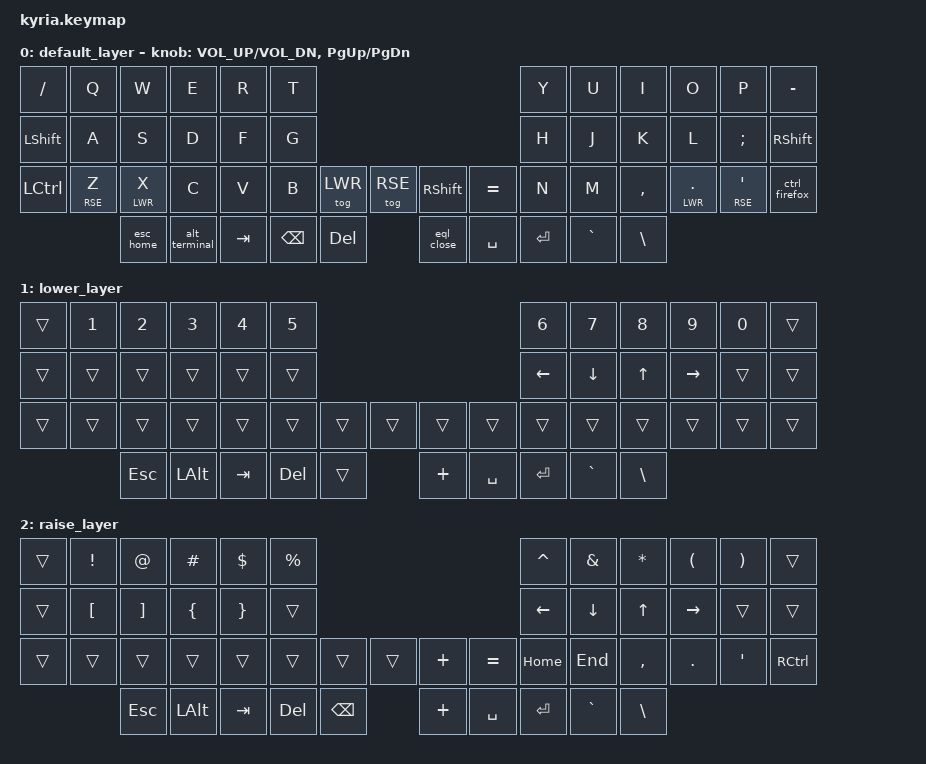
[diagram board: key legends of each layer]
#include <behaviors.dtsi>
#include <dt-bindings/zmk/keys.h>
#include <dt-bindings/zmk/bt.h>
#include <dt-bindings/zmk/outputs.h>
#include <dt-bindings/led/led.h>


#define DEFAULT 0
#define LWR   1
#define RSE   2

/ {
    macros {
        open_home: open_home {
            label = "Open_home";
            compatible = "zmk,behavior-macro";
            #binding-cells = <0>;
            bindings
                = <&macro_press &kp LCTRL>
                , <&macro_press &kp LALT>
                , <&macro_tap &kp D>
                , <&macro_release &kp LCTRL>
                , <&macro_release &kp LALT>
                ;
        };
        open_browser: open_browser {
            label = "Open_browser";
            compatible = "zmk,behavior-macro";
            #binding-cells = <0>;
            bindings
                = <&macro_press &kp LCTRL>
                , <&macro_press &kp LALT>
                , <&macro_tap &kp F>
                , <&macro_release &kp LCTRL>
                , <&macro_release &kp LALT>
                ;
        };
        open_terminal: open_terminal {
            label = "Open_terminal";
            compatible = "zmk,behavior-macro";
            #binding-cells = <0>;
            bindings
                = <&macro_press &kp LCTRL>
                , <&macro_press &kp LALT>
                , <&macro_tap &kp T>
                , <&macro_release &kp LCTRL>
                , <&macro_release &kp LALT>
                ;
        };
        close_window: close_window {
            label = "Close_window";
            compatible = "zmk,behavior-macro";
            #binding-cells = <0>;
            bindings
                = <&macro_press &kp LALT>
                , <&macro_tap &kp F4>
                , <&macro_release &kp LALT>
                ;
        };
    }; 
    behaviors {
        eql_close: tap_dance_3 {
            compatible = "zmk,behavior-tap-dance";
            label = "TAP_DANCE_3";
            #binding-cells = <0>;
            tapping-term-ms = <300>;
            bindings = <&kp EQL>, <&close_window>;
        };
        ctrl_firefox: tap_dance_2 {
            compatible = "zmk,behavior-tap-dance";
            label = "TAP_DANCE_2";
            #binding-cells = <0>;
            tapping-term-ms = <300>;
            bindings = <&kp LCTRL>, <&open_browser>;
        };
        alt_terminal: tap_dance_1 {
            compatible = "zmk,behavior-tap-dance";
            label = "TAP_DANCE_1";
            #binding-cells = <0>;
            tapping-term-ms = <300>;
            bindings = <&kp LALT>, <&open_terminal>;
        };
        esc_home: tap_dance_0 {
            compatible = "zmk,behavior-tap-dance";
            label = "TAP_DANCE_0";
            #binding-cells = <0>;
            tapping-term-ms = <300>;
            bindings = <&kp ESC>, <&open_home>;
        };
    };
    keymap {
      compatible = "zmk,keymap";

      default_layer {
         bindings = <
            &kp FSLH  &kp Q       &kp W     &kp E &kp R &kp T                                                  &kp Y &kp U  &kp I     &kp O   &kp P    &kp MINUS
            &kp LSHFT &kp A       &kp S     &kp D &kp F &kp G                                                  &kp H &kp J  &kp K     &kp L   &kp SEMI &kp RSHFT
           &kp LCTRL             &lt RSE Z   &lt LWR X &kp C &kp V &kp B &tog LWR &tog RSE            &kp RSHFT &kp EQL    &kp N &kp M  &kp COMMA &lt LWR DOT &lt RSE SQT &ctrl_firefox
                           &esc_home &alt_terminal &kp TAB &kp BSPC &kp DEL               &eql_close &kp SPACE &kp RET &kp GRAVE &kp BSLH
         >;
      sensor-bindings = <&inc_dec_kp C_VOL_UP C_VOL_DN &inc_dec_kp PG_UP PG_DN>;
    };
    lower_layer {
      bindings = <
  &trans  &kp N1 &kp N2 &kp N3 &kp N4 &kp N5                                                &kp N6   &kp N7   &kp N8     &kp N9     &kp N0     &trans
  &trans    &trans &trans &trans &trans &trans                                                &kp LEFT &kp DOWN &kp UP     &kp RIGHT  &trans   &trans
  &trans    &trans &trans &trans &trans &trans &trans &trans        &trans    &trans         &trans    &trans   &trans     &trans     &trans   &trans
                   &kp ESC &kp LALT &kp TAB &kp DEL &trans        &kp PLUS  &kp SPACE     &kp RET &kp GRAVE &kp BSLH
      >;
    };
    raise_layer {
      bindings = <
  &trans   &kp EXCL &kp AT   &kp HASH &kp DLLR &kp PRCNT                                              &kp CARET &kp AMPS  &kp STAR    &kp LPAR   &kp RPAR    &trans
  &trans   &kp LBKT &kp RBKT &kp LBRC &kp RBRC &trans                                                &kp LEFT   &kp DOWN  &kp UP      &kp RIGHT &trans &trans 
  &trans   &trans   &trans   &trans   &trans   &trans &trans &trans        &kp PLUS &kp EQL &kp HOME &kp END  &kp COMMA &kp DOT &kp SQT &kp RCTRL
                   &kp ESC &kp LALT &kp TAB &kp DEL &kp BSPC        &kp PLUS  &kp SPACE  &kp RET &kp GRAVE &kp BSLH
      >;
    };
  };
};
